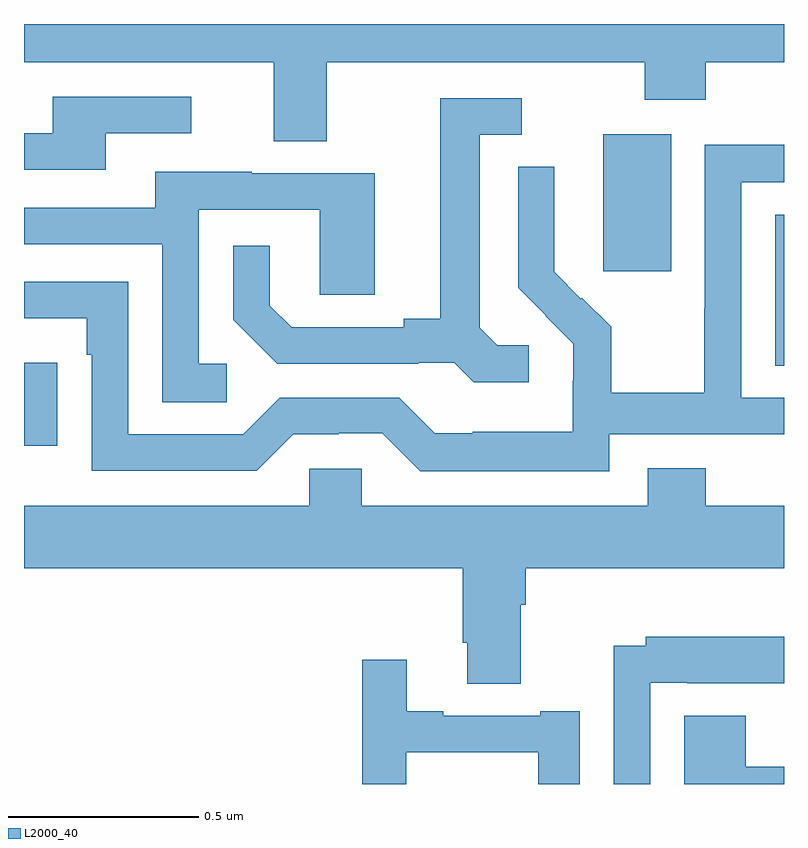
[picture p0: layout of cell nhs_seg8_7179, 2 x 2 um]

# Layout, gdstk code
import gdstk
lib = gdstk.Library(unit=1e-6, precision=1e-09)
def R(c, l, rs):  # rectangles x0, y0, x1, y1
    for r in rs: c.add(gdstk.rectangle(r[:2], r[2:], *l))
def P(c, l, *ps):  # polygons
    for p in ps: c.add(gdstk.Polygon(p, *l))
L2000_40 = (2000, 40)

nhs_seg8_7179 = lib.new_cell('nhs_seg8_7179')
R(nhs_seg8_7179, L2000_40, [(206,1148.79,206.087,1149.008), (207.977,1149.001,208,1149.398), (207.524,1149.249,207.703,1149.61)])
P(nhs_seg8_7179, L2000_40, [(206.797,1149.8),(207.634,1149.8),(207.634,1149.701),(207.794,1149.701),(207.794,1149.8),(208,1149.8),(208,1149.9),(206,1149.9),(206,1149.8),(206.657,1149.8),(206.657,1149.592),(206.797,1149.592)],
  [(206.215,1149.612),(206.44,1149.612),(206.44,1149.708),(206.075,1149.708),(206.075,1149.612),(206,1149.612),(206,1149.516),(206.215,1149.516)],
  [(207.328,1149.054),(207.246,1149.054),(207.199,1149.101),(207.199,1149.609),(207.31,1149.609),(207.31,1149.705),(207.095,1149.705),(207.095,1149.125),(206.999,1149.125),(206.999,1149.102),(206.704,1149.102),(206.647,1149.159),(206.647,1149.316),(206.55,1149.316),(206.55,1149.122),(206.666,1149.006),(207.038,1149.006),(207.038,1149.009),(207.132,1149.009),(207.184,1148.957),(207.328,1148.957)],
  [(207.54,1148.82),(208,1148.82),(208,1148.916),(207.888,1148.916),(207.888,1149.483),(208,1149.483),(208,1149.582),(207.792,1149.582),(207.792,1149.152),(207.79,1149.152),(207.79,1148.929),(207.545,1148.929),(207.545,1149.103),(207.468,1149.18),(207.465,1149.177),(207.395,1149.248),(207.395,1149.37),(207.396,1149.37),(207.396,1149.524),(207.3,1149.524),(207.3,1149.206),(207.373,1149.133),(207.372,1149.132),(207.446,1149.058),(207.446,1148.961),(207.444,1148.961),(207.444,1148.827),(207.181,1148.827),(207.181,1148.823),(207.081,1148.823),(206.988,1148.916),(206.673,1148.916),(206.577,1148.82),(206.274,1148.82),(206.274,1149.222),(206,1149.222),(206,1149.126),(206.165,1149.126),(206.165,1149.029),(206.178,1149.029),(206.178,1148.724),(206.613,1148.724),(206.709,1148.82),(206.828,1148.82),(206.828,1148.823),(206.943,1148.823),(207.043,1148.723),(207.54,1148.723)],
  [(206.533,1149.006),(206.46,1149.006),(206.46,1149.411),(206.778,1149.411),(206.778,1149.187),(206.923,1149.187),(206.923,1149.507),(206.599,1149.507),(206.599,1149.511),(206.345,1149.511),(206.345,1149.417),(206,1149.417),(206,1149.321),(206.364,1149.321),(206.364,1148.905),(206.533,1148.905)],
  [(207.307,1148.372),(207.32,1148.372),(207.32,1148.468),(208,1148.468),(208,1148.632),(207.794,1148.632),(207.794,1148.731),(207.641,1148.731),(207.641,1148.632),(206.889,1148.632),(206.889,1148.73),(206.751,1148.73),(206.751,1148.632),(206,1148.632),(206,1148.468),(207.155,1148.468),(207.155,1148.272),(207.167,1148.272),(207.167,1148.164),(207.307,1148.164)],
  [(207.648,1148.166),(207.745,1148.166),(207.745,1148.165),(208,1148.165),(208,1148.287),(207.636,1148.287),(207.636,1148.264),(207.552,1148.264),(207.552,1147.9),(207.648,1147.9)],
  [(207.006,1147.983),(207.353,1147.983),(207.353,1147.9),(207.463,1147.9),(207.463,1148.092),(207.359,1148.092),(207.359,1148.079),(207.103,1148.079),(207.103,1148.092),(207.007,1148.092),(207.007,1148.227),(206.89,1148.227),(206.89,1147.9),(207.006,1147.9)],
  [(208,1147.945),(207.899,1147.945),(207.899,1148.08),(207.737,1148.08),(207.737,1147.9),(208,1147.9)])

lib.write_gds('nhs_seg8_7179.gds')
